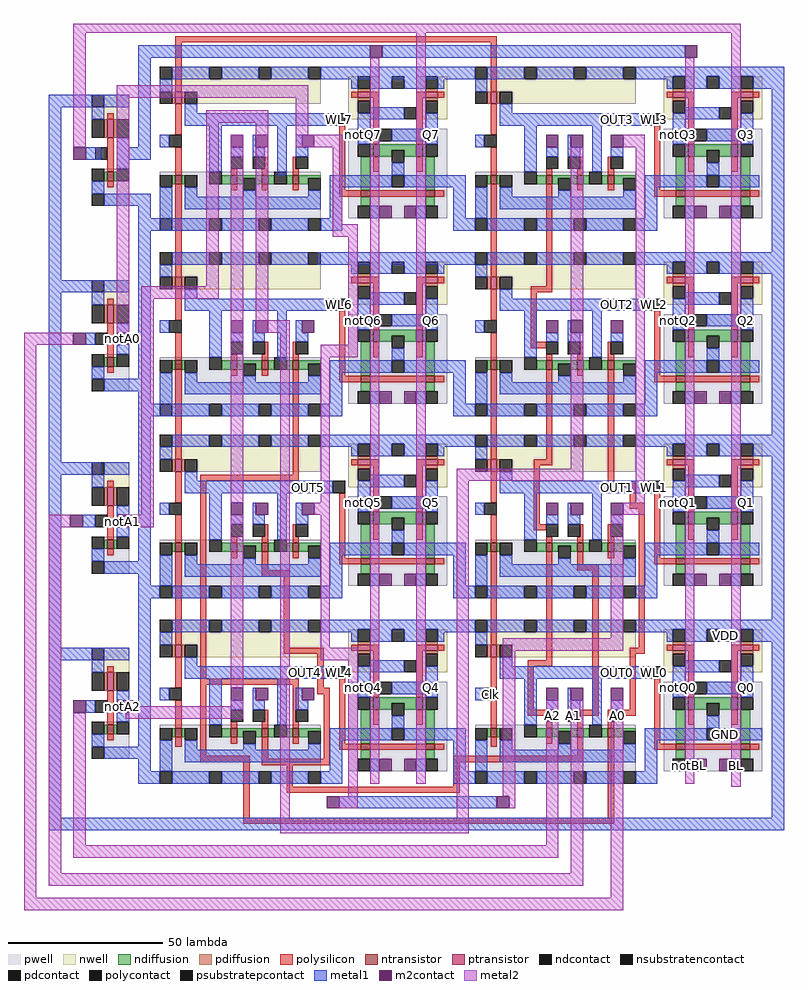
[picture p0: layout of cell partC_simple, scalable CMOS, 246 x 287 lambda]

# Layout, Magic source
magic
tech scmos
<< pwell >>
rect 102 0 154 19
rect 163 4 195 33
rect 102 -60 154 -41
rect 163 -56 195 -27
rect 0 -119 52 -100
rect 61 -115 93 -86
rect 102 -119 154 -100
rect 163 -115 195 -86
rect 0 -179 52 -160
rect 61 -175 93 -146
rect 102 -179 154 -160
rect 163 -175 195 -146
<< nwell >>
rect 102 41 154 53
rect 163 36 173 50
rect 185 36 195 50
rect 102 -19 154 -7
rect 163 -24 173 -10
rect 185 -24 195 -10
rect 0 -78 52 -66
rect 61 -83 71 -69
rect 83 -83 93 -69
rect 102 -78 154 -66
rect 163 -83 173 -69
rect 185 -83 195 -69
rect 0 -138 52 -126
rect 61 -143 71 -129
rect 83 -143 93 -129
rect 102 -138 154 -126
rect 163 -143 173 -129
rect 185 -143 195 -129
<< polysilicon >>
rect 5 61 109 63
rect 5 46 7 61
rect 107 45 109 61
rect 164 43 166 45
rect 170 43 173 45
rect 5 -19 7 14
rect 58 13 60 34
rect 107 31 109 41
rect 107 18 109 27
rect 136 20 137 24
rect 58 11 62 13
rect 107 -15 109 15
rect 125 18 127 20
rect 135 18 137 20
rect 145 20 146 24
rect 125 -18 127 15
rect 145 18 147 20
rect 135 13 137 15
rect 145 13 147 15
rect 160 13 162 34
rect 171 28 173 43
rect 185 43 188 45
rect 192 43 194 45
rect 185 28 187 43
rect 171 19 173 24
rect 185 19 187 24
rect 160 11 167 13
rect 170 11 188 13
rect 191 11 194 13
rect 164 -17 166 -15
rect 170 -17 173 -15
rect 5 -74 7 -43
rect 5 -88 7 -78
rect 43 -79 45 -46
rect 58 -47 60 -26
rect 107 -29 109 -19
rect 107 -42 109 -33
rect 120 -20 127 -18
rect 120 -36 122 -20
rect 120 -38 125 -36
rect 136 -40 137 -36
rect 58 -49 62 -47
rect 107 -74 109 -45
rect 125 -42 127 -40
rect 135 -42 137 -40
rect 145 -40 146 -36
rect 125 -74 127 -45
rect 145 -42 147 -40
rect 135 -47 137 -45
rect 62 -76 64 -74
rect 68 -76 71 -74
rect 5 -101 7 -92
rect 13 -81 45 -79
rect 5 -134 7 -104
rect 5 -148 7 -138
rect 5 -161 7 -152
rect 13 -145 15 -81
rect 34 -99 35 -95
rect 23 -101 25 -99
rect 33 -101 35 -99
rect 43 -99 44 -95
rect 23 -106 25 -104
rect 43 -101 45 -99
rect 33 -110 35 -104
rect 43 -106 45 -104
rect 58 -106 60 -85
rect 69 -91 71 -76
rect 83 -76 86 -74
rect 90 -76 92 -74
rect 83 -91 85 -76
rect 121 -76 127 -74
rect 107 -88 109 -78
rect 69 -100 71 -95
rect 83 -100 85 -95
rect 107 -101 109 -92
rect 121 -95 123 -76
rect 145 -81 147 -45
rect 160 -47 162 -26
rect 171 -32 173 -17
rect 185 -17 188 -15
rect 192 -17 194 -15
rect 185 -32 187 -17
rect 171 -41 173 -36
rect 185 -41 187 -36
rect 160 -49 167 -47
rect 170 -49 188 -47
rect 191 -49 194 -47
rect 164 -76 166 -74
rect 170 -76 173 -74
rect 145 -83 154 -81
rect 152 -88 154 -83
rect 152 -90 157 -88
rect 121 -97 125 -95
rect 136 -99 137 -95
rect 58 -108 65 -106
rect 68 -108 86 -106
rect 89 -108 92 -106
rect 33 -112 42 -110
rect 40 -135 42 -112
rect 107 -134 109 -104
rect 125 -101 127 -99
rect 135 -101 137 -99
rect 145 -99 146 -95
rect 40 -137 53 -135
rect 62 -136 64 -134
rect 68 -136 71 -134
rect 13 -147 45 -145
rect 5 -167 7 -164
rect 13 -170 15 -147
rect 43 -155 45 -147
rect 51 -148 53 -137
rect 51 -150 55 -148
rect 34 -159 35 -155
rect 23 -161 25 -159
rect 33 -161 35 -159
rect 43 -159 44 -155
rect 23 -166 25 -164
rect 43 -161 45 -159
rect 13 -172 29 -170
rect 27 -190 29 -172
rect 33 -171 35 -164
rect 43 -166 45 -164
rect 53 -171 55 -150
rect 58 -166 60 -145
rect 69 -151 71 -136
rect 83 -136 86 -134
rect 90 -136 92 -134
rect 83 -151 85 -136
rect 107 -148 109 -138
rect 125 -139 127 -104
rect 145 -101 147 -99
rect 135 -108 137 -104
rect 145 -106 147 -104
rect 135 -110 142 -108
rect 69 -160 71 -155
rect 83 -160 85 -155
rect 107 -161 109 -152
rect 119 -141 127 -139
rect 119 -155 121 -141
rect 140 -155 142 -110
rect 155 -135 157 -90
rect 160 -106 162 -85
rect 171 -91 173 -76
rect 185 -76 188 -74
rect 192 -76 194 -74
rect 185 -91 187 -76
rect 171 -100 173 -95
rect 185 -100 187 -95
rect 160 -108 167 -106
rect 170 -108 188 -106
rect 191 -108 194 -106
rect 152 -137 157 -135
rect 164 -136 166 -134
rect 170 -136 173 -134
rect 152 -155 154 -137
rect 119 -157 125 -155
rect 136 -157 142 -155
rect 136 -159 137 -157
rect 58 -168 65 -166
rect 68 -168 86 -166
rect 89 -168 92 -166
rect 107 -167 109 -164
rect 125 -161 127 -159
rect 135 -161 137 -159
rect 145 -159 146 -155
rect 150 -157 154 -155
rect 125 -166 127 -164
rect 145 -161 147 -159
rect 33 -173 55 -171
rect 41 -180 43 -173
rect 135 -170 137 -164
rect 95 -172 137 -170
rect 95 -180 97 -172
rect 41 -182 97 -180
rect 145 -190 147 -164
rect 160 -166 162 -145
rect 171 -151 173 -136
rect 185 -136 188 -134
rect 192 -136 194 -134
rect 185 -151 187 -136
rect 171 -160 173 -155
rect 185 -160 187 -155
rect 160 -168 167 -166
rect 170 -168 188 -166
rect 191 -168 194 -166
rect 27 -192 147 -190
<< ndiffusion >>
rect 106 15 107 18
rect 109 15 110 18
rect 122 15 125 18
rect 127 17 135 18
rect 127 15 129 17
rect 133 15 135 17
rect 137 15 139 18
rect 143 15 145 18
rect 147 17 154 18
rect 147 15 150 17
rect 170 24 171 28
rect 173 26 185 28
rect 173 24 177 26
rect 167 13 170 24
rect 181 24 185 26
rect 187 24 188 28
rect 188 13 191 24
rect 167 8 170 11
rect 188 8 191 11
rect 106 -45 107 -42
rect 109 -45 110 -42
rect 122 -45 125 -42
rect 127 -43 135 -42
rect 127 -45 129 -43
rect 133 -45 135 -43
rect 137 -45 139 -42
rect 143 -45 145 -42
rect 147 -43 154 -42
rect 147 -45 150 -43
rect 4 -104 5 -101
rect 7 -104 8 -101
rect 20 -104 23 -101
rect 25 -102 33 -101
rect 25 -104 27 -102
rect 31 -104 33 -102
rect 35 -104 37 -101
rect 41 -104 43 -101
rect 45 -102 52 -101
rect 45 -104 48 -102
rect 68 -95 69 -91
rect 71 -93 83 -91
rect 71 -95 75 -93
rect 65 -106 68 -95
rect 79 -95 83 -93
rect 85 -95 86 -91
rect 86 -106 89 -95
rect 170 -36 171 -32
rect 173 -34 185 -32
rect 173 -36 177 -34
rect 167 -47 170 -36
rect 181 -36 185 -34
rect 187 -36 188 -32
rect 188 -47 191 -36
rect 167 -52 170 -49
rect 188 -52 191 -49
rect 106 -104 107 -101
rect 109 -104 110 -101
rect 65 -111 68 -108
rect 86 -111 89 -108
rect 122 -104 125 -101
rect 127 -102 135 -101
rect 127 -104 129 -102
rect 4 -164 5 -161
rect 7 -164 8 -161
rect 20 -164 23 -161
rect 25 -162 33 -161
rect 25 -164 27 -162
rect 31 -164 33 -162
rect 35 -164 37 -161
rect 41 -164 43 -161
rect 45 -162 52 -161
rect 45 -164 48 -162
rect 133 -104 135 -102
rect 137 -104 139 -101
rect 143 -104 145 -101
rect 147 -102 154 -101
rect 147 -104 150 -102
rect 68 -155 69 -151
rect 71 -153 83 -151
rect 71 -155 75 -153
rect 65 -166 68 -155
rect 79 -155 83 -153
rect 85 -155 86 -151
rect 86 -166 89 -155
rect 170 -95 171 -91
rect 173 -93 185 -91
rect 173 -95 177 -93
rect 167 -106 170 -95
rect 181 -95 185 -93
rect 187 -95 188 -91
rect 188 -106 191 -95
rect 167 -111 170 -108
rect 188 -111 191 -108
rect 106 -164 107 -161
rect 109 -164 110 -161
rect 122 -164 125 -161
rect 127 -162 135 -161
rect 127 -164 129 -162
rect 133 -164 135 -162
rect 137 -164 139 -161
rect 143 -164 145 -161
rect 147 -162 154 -161
rect 147 -164 150 -162
rect 65 -171 68 -168
rect 86 -171 89 -168
rect 170 -155 171 -151
rect 173 -153 185 -151
rect 173 -155 177 -153
rect 167 -166 170 -155
rect 181 -155 185 -153
rect 187 -155 188 -151
rect 188 -166 191 -155
rect 167 -171 170 -168
rect 188 -171 191 -168
<< pdiffusion >>
rect 166 45 170 46
rect 188 45 192 46
rect 106 41 107 45
rect 109 41 110 45
rect 166 42 170 43
rect 106 -19 107 -15
rect 109 -19 110 -15
rect 188 42 192 43
rect 166 -15 170 -14
rect 188 -15 192 -14
rect 4 -78 5 -74
rect 7 -78 8 -74
rect 166 -18 170 -17
rect 64 -74 68 -73
rect 86 -74 90 -73
rect 64 -77 68 -76
rect 4 -138 5 -134
rect 7 -138 8 -134
rect 86 -77 90 -76
rect 106 -78 107 -74
rect 109 -78 110 -74
rect 188 -18 192 -17
rect 166 -74 170 -73
rect 188 -74 192 -73
rect 166 -77 170 -76
rect 64 -134 68 -133
rect 86 -134 90 -133
rect 64 -137 68 -136
rect 86 -137 90 -136
rect 106 -138 107 -134
rect 109 -138 110 -134
rect 188 -77 192 -76
rect 166 -134 170 -133
rect 188 -134 192 -133
rect 166 -137 170 -136
rect 188 -137 192 -136
<< metal1 >>
rect -7 56 68 60
rect 72 56 170 60
rect -36 40 -18 44
rect -36 -16 -32 40
rect -7 27 -3 56
rect 52 49 102 53
rect 106 49 118 53
rect 122 49 134 53
rect 138 49 150 53
rect 154 50 202 53
rect 154 49 166 50
rect 102 45 106 49
rect 164 46 166 49
rect 170 46 177 50
rect 181 46 188 50
rect 192 46 202 50
rect 110 38 114 41
rect 170 38 181 40
rect -24 23 -19 27
rect -14 23 -3 27
rect 38 18 41 38
rect 52 34 56 38
rect 110 34 158 38
rect 166 36 181 38
rect 102 27 105 31
rect 118 19 122 34
rect 125 24 129 27
rect 132 27 133 31
rect 132 24 136 27
rect 140 19 143 34
rect 146 24 150 27
rect 166 28 170 36
rect 188 33 192 38
rect 177 29 192 33
rect 188 28 192 29
rect 55 14 63 18
rect 88 14 99 18
rect -12 8 -3 12
rect 0 8 4 12
rect -7 4 -3 8
rect 55 4 59 14
rect -7 0 7 4
rect 52 0 59 4
rect 95 4 99 14
rect 102 4 106 14
rect 110 11 114 14
rect 177 18 181 22
rect 129 11 133 13
rect 150 11 154 13
rect 110 7 154 11
rect 157 14 177 18
rect 181 14 194 18
rect 157 4 161 14
rect 170 4 173 8
rect 185 4 188 8
rect 95 0 102 4
rect 106 0 118 4
rect 122 0 134 4
rect 138 0 150 4
rect 154 0 161 4
rect -36 -20 -18 -16
rect -36 -75 -32 -20
rect -24 -37 -21 -33
rect -7 -48 -3 0
rect 198 -7 202 46
rect 51 -11 102 -7
rect 106 -11 118 -7
rect 122 -11 134 -7
rect 138 -11 150 -7
rect 154 -10 202 -7
rect 154 -11 166 -10
rect 102 -15 106 -11
rect 164 -14 166 -11
rect 170 -14 177 -10
rect 181 -14 188 -10
rect 192 -14 202 -10
rect 110 -22 114 -19
rect 170 -22 181 -20
rect 38 -42 41 -22
rect 52 -26 56 -22
rect 110 -26 158 -22
rect 166 -24 181 -22
rect 102 -33 105 -29
rect 118 -41 122 -26
rect 125 -36 129 -33
rect 132 -33 133 -29
rect 132 -36 136 -33
rect 140 -41 143 -26
rect 146 -36 150 -33
rect 166 -32 170 -24
rect 188 -27 192 -22
rect 177 -31 192 -27
rect 188 -32 192 -31
rect -11 -52 -3 -48
rect -7 -56 -3 -52
rect 55 -46 63 -42
rect 91 -46 99 -42
rect 55 -56 59 -46
rect -7 -60 8 -56
rect 52 -60 59 -56
rect 95 -56 99 -46
rect 102 -56 106 -46
rect 110 -49 114 -46
rect 177 -42 181 -38
rect 129 -49 133 -47
rect 150 -49 154 -47
rect 110 -53 154 -49
rect 157 -46 177 -42
rect 181 -46 194 -42
rect 157 -56 161 -46
rect 170 -56 173 -52
rect 185 -56 188 -52
rect 95 -60 102 -56
rect 106 -60 118 -56
rect 122 -60 134 -56
rect 138 -60 150 -56
rect 154 -60 161 -56
rect -36 -79 -19 -75
rect -36 -135 -32 -79
rect -25 -96 -21 -92
rect -7 -107 -3 -60
rect 198 -66 202 -14
rect 4 -70 16 -66
rect 20 -70 32 -66
rect 36 -70 48 -66
rect 52 -69 102 -66
rect 52 -70 64 -69
rect 0 -74 4 -70
rect 62 -73 64 -70
rect 68 -73 75 -69
rect 79 -73 86 -69
rect 90 -70 102 -69
rect 106 -70 118 -66
rect 122 -70 134 -66
rect 138 -70 150 -66
rect 154 -69 202 -66
rect 154 -70 166 -69
rect 90 -73 92 -70
rect 102 -74 106 -70
rect 164 -73 166 -70
rect 170 -73 177 -69
rect 181 -73 188 -69
rect 192 -73 202 -69
rect 8 -81 12 -78
rect 68 -81 79 -79
rect 8 -85 56 -81
rect 64 -83 79 -81
rect 0 -92 3 -88
rect 16 -100 20 -85
rect 23 -95 27 -92
rect 30 -92 31 -88
rect 30 -95 34 -92
rect 38 -100 41 -85
rect 44 -92 46 -88
rect 64 -91 68 -83
rect 86 -86 90 -81
rect 110 -81 114 -78
rect 170 -81 181 -79
rect 110 -85 158 -81
rect 166 -83 181 -81
rect 75 -90 90 -86
rect 44 -95 48 -92
rect 86 -91 90 -90
rect 102 -92 105 -88
rect -12 -111 -3 -107
rect -7 -115 -3 -111
rect 0 -115 4 -105
rect 8 -108 12 -105
rect 75 -101 79 -97
rect 118 -100 122 -85
rect 125 -95 129 -92
rect 132 -92 133 -88
rect 132 -95 136 -92
rect 140 -100 143 -85
rect 146 -95 150 -92
rect 166 -91 170 -83
rect 188 -86 192 -81
rect 177 -90 192 -86
rect 188 -91 192 -90
rect 27 -108 31 -106
rect 48 -108 52 -106
rect 8 -112 52 -108
rect 55 -105 75 -101
rect 79 -105 99 -101
rect 55 -115 59 -105
rect 68 -115 71 -111
rect 83 -115 86 -111
rect 95 -115 99 -105
rect 102 -115 106 -105
rect 110 -108 114 -105
rect 177 -101 181 -97
rect 129 -108 133 -106
rect 150 -108 154 -106
rect 110 -112 154 -108
rect 157 -105 177 -101
rect 181 -105 194 -101
rect 157 -115 161 -105
rect 170 -115 173 -111
rect 185 -115 188 -111
rect -7 -119 0 -115
rect 4 -119 16 -115
rect 20 -119 32 -115
rect 36 -119 48 -115
rect 52 -119 59 -115
rect 95 -119 102 -115
rect 106 -119 118 -115
rect 122 -119 134 -115
rect 138 -119 150 -115
rect 154 -119 161 -115
rect -36 -139 -16 -135
rect -36 -190 -32 -139
rect -24 -156 -21 -152
rect -7 -167 -3 -119
rect 198 -126 202 -73
rect 4 -130 16 -126
rect 20 -130 32 -126
rect 36 -130 48 -126
rect 52 -129 102 -126
rect 52 -130 64 -129
rect 0 -134 4 -130
rect 62 -133 64 -130
rect 68 -133 75 -129
rect 79 -133 86 -129
rect 90 -130 102 -129
rect 106 -130 118 -126
rect 122 -130 134 -126
rect 138 -130 150 -126
rect 154 -129 202 -126
rect 154 -130 166 -129
rect 90 -133 92 -130
rect 102 -134 106 -130
rect 164 -133 166 -130
rect 170 -133 177 -129
rect 181 -133 188 -129
rect 192 -133 202 -129
rect 8 -141 12 -138
rect 68 -141 79 -139
rect 8 -145 56 -141
rect 64 -143 79 -141
rect 0 -152 3 -148
rect 16 -160 20 -145
rect 23 -155 27 -152
rect 30 -152 31 -148
rect 30 -155 34 -152
rect 38 -160 41 -145
rect 44 -152 46 -148
rect 64 -151 68 -143
rect 86 -146 90 -141
rect 110 -141 114 -138
rect 170 -141 181 -139
rect 110 -145 158 -141
rect 166 -143 181 -141
rect 75 -150 90 -146
rect 44 -155 48 -152
rect 86 -151 90 -150
rect 102 -152 105 -148
rect -11 -171 -3 -167
rect -7 -175 -3 -171
rect 0 -175 4 -165
rect 8 -168 12 -165
rect 75 -161 79 -157
rect 118 -160 122 -145
rect 125 -155 129 -152
rect 132 -152 133 -148
rect 132 -155 136 -152
rect 140 -160 143 -145
rect 146 -155 150 -152
rect 166 -151 170 -143
rect 188 -146 192 -141
rect 177 -150 192 -146
rect 188 -151 192 -150
rect 27 -168 31 -166
rect 48 -168 52 -166
rect 8 -172 52 -168
rect 55 -165 75 -161
rect 79 -165 99 -161
rect 55 -175 59 -165
rect 68 -175 71 -171
rect 83 -175 86 -171
rect 95 -175 99 -165
rect 102 -175 106 -165
rect 110 -168 114 -165
rect 177 -161 181 -157
rect 129 -168 133 -166
rect 150 -168 154 -166
rect 110 -172 154 -168
rect 157 -165 177 -161
rect 181 -165 195 -161
rect 157 -175 161 -165
rect 170 -175 173 -171
rect 185 -175 188 -171
rect -7 -179 0 -175
rect 4 -179 16 -175
rect 20 -179 32 -175
rect 36 -179 48 -175
rect 52 -179 59 -175
rect 95 -179 102 -175
rect 106 -179 118 -175
rect 122 -179 134 -175
rect 138 -179 150 -175
rect 154 -179 161 -175
rect 58 -187 109 -183
rect 198 -190 202 -133
rect -36 -194 202 -190
<< metal2 >>
rect -28 64 188 67
rect -28 27 -24 64
rect -14 43 48 47
rect -14 -33 -10 43
rect 15 35 35 39
rect 15 -18 19 35
rect -44 -37 -28 -33
rect -6 -22 19 -18
rect -44 -216 -40 -37
rect -6 -92 -2 -22
rect -36 -96 -29 -92
rect -10 -96 -2 -92
rect 23 -88 27 31
rect 31 -29 35 35
rect 44 31 48 43
rect 44 27 59 31
rect 56 2 59 27
rect 56 -2 64 2
rect 31 -33 42 -29
rect -36 -208 -32 -96
rect 23 -148 27 -92
rect -10 -154 -8 -152
rect 23 -154 27 -152
rect -10 -156 27 -154
rect -28 -199 -24 -156
rect -11 -158 27 -156
rect 39 -191 42 -33
rect 61 -37 64 -2
rect 52 -41 64 -37
rect 52 -88 55 -41
rect 50 -92 55 -88
rect 52 -135 55 -92
rect 52 -139 64 -135
rect 61 -183 64 -139
rect 68 -179 71 56
rect 83 -179 86 64
rect 150 27 157 31
rect 133 -29 137 27
rect 133 -77 137 -33
rect 96 -81 137 -77
rect 58 -187 64 -183
rect 96 -191 100 -81
rect 154 -88 157 27
rect 150 -92 157 -88
rect 146 -132 150 -92
rect 111 -136 150 -132
rect 111 -183 115 -136
rect 113 -187 115 -183
rect 39 -195 100 -191
rect 125 -199 129 -152
rect -28 -203 129 -199
rect 133 -208 137 -152
rect -36 -212 137 -208
rect 146 -216 150 -152
rect 170 -179 173 56
rect 185 -180 188 64
rect -44 -220 150 -216
<< ntransistor >>
rect 107 15 109 18
rect 125 15 127 18
rect 135 15 137 18
rect 145 15 147 18
rect 171 24 173 28
rect 185 24 187 28
rect 167 11 170 13
rect 188 11 191 13
rect 107 -45 109 -42
rect 125 -45 127 -42
rect 135 -45 137 -42
rect 145 -45 147 -42
rect 5 -104 7 -101
rect 23 -104 25 -101
rect 33 -104 35 -101
rect 43 -104 45 -101
rect 69 -95 71 -91
rect 83 -95 85 -91
rect 171 -36 173 -32
rect 185 -36 187 -32
rect 167 -49 170 -47
rect 188 -49 191 -47
rect 107 -104 109 -101
rect 65 -108 68 -106
rect 86 -108 89 -106
rect 125 -104 127 -101
rect 5 -164 7 -161
rect 23 -164 25 -161
rect 33 -164 35 -161
rect 43 -164 45 -161
rect 135 -104 137 -101
rect 145 -104 147 -101
rect 69 -155 71 -151
rect 83 -155 85 -151
rect 171 -95 173 -91
rect 185 -95 187 -91
rect 167 -108 170 -106
rect 188 -108 191 -106
rect 107 -164 109 -161
rect 65 -168 68 -166
rect 86 -168 89 -166
rect 125 -164 127 -161
rect 135 -164 137 -161
rect 145 -164 147 -161
rect 171 -155 173 -151
rect 185 -155 187 -151
rect 167 -168 170 -166
rect 188 -168 191 -166
<< ptransistor >>
rect 107 41 109 45
rect 166 43 170 45
rect 107 -19 109 -15
rect 188 43 192 45
rect 166 -17 170 -15
rect 5 -78 7 -74
rect 64 -76 68 -74
rect 5 -138 7 -134
rect 86 -76 90 -74
rect 107 -78 109 -74
rect 188 -17 192 -15
rect 166 -76 170 -74
rect 64 -136 68 -134
rect 86 -136 90 -134
rect 107 -138 109 -134
rect 188 -76 192 -74
rect 166 -136 170 -134
rect 188 -136 192 -134
<< polycontact >>
rect 56 34 60 38
rect 158 34 162 38
rect 105 27 109 31
rect 125 20 129 24
rect 132 20 136 24
rect 146 20 150 24
rect 181 36 185 40
rect 173 29 177 33
rect 56 -26 60 -22
rect 105 -33 109 -29
rect 158 -26 162 -22
rect 125 -40 129 -36
rect 132 -40 136 -36
rect 146 -40 150 -36
rect 3 -92 7 -88
rect 3 -152 7 -148
rect 56 -85 60 -81
rect 23 -99 27 -95
rect 30 -99 34 -95
rect 44 -99 48 -95
rect 79 -83 83 -79
rect 71 -90 75 -86
rect 105 -92 109 -88
rect 181 -24 185 -20
rect 173 -31 177 -27
rect 158 -85 162 -81
rect 125 -99 129 -95
rect 132 -99 136 -95
rect 146 -99 150 -95
rect 56 -145 60 -141
rect 23 -159 27 -155
rect 30 -159 34 -155
rect 44 -159 48 -155
rect 79 -143 83 -139
rect 71 -150 75 -146
rect 105 -152 109 -148
rect 181 -83 185 -79
rect 173 -90 177 -86
rect 158 -145 162 -141
rect 125 -159 129 -155
rect 132 -159 136 -155
rect 146 -159 150 -155
rect 181 -143 185 -139
rect 173 -150 177 -146
<< ndcontact >>
rect 102 14 106 18
rect 110 14 114 18
rect 118 15 122 19
rect 129 13 133 17
rect 139 15 143 19
rect 150 13 154 17
rect 166 24 170 28
rect 177 22 181 26
rect 188 24 192 28
rect 166 4 170 8
rect 188 4 192 8
rect 102 -46 106 -42
rect 110 -46 114 -42
rect 118 -45 122 -41
rect 129 -47 133 -43
rect 139 -45 143 -41
rect 0 -105 4 -101
rect 8 -105 12 -101
rect 16 -104 20 -100
rect 27 -106 31 -102
rect 37 -104 41 -100
rect 48 -106 52 -102
rect 64 -95 68 -91
rect 75 -97 79 -93
rect 86 -95 90 -91
rect 150 -47 154 -43
rect 166 -36 170 -32
rect 177 -38 181 -34
rect 188 -36 192 -32
rect 166 -56 170 -52
rect 188 -56 192 -52
rect 102 -105 106 -101
rect 64 -115 68 -111
rect 86 -115 90 -111
rect 110 -105 114 -101
rect 118 -104 122 -100
rect 0 -165 4 -161
rect 8 -165 12 -161
rect 16 -164 20 -160
rect 27 -166 31 -162
rect 37 -164 41 -160
rect 48 -166 52 -162
rect 129 -106 133 -102
rect 139 -104 143 -100
rect 150 -106 154 -102
rect 64 -155 68 -151
rect 75 -157 79 -153
rect 86 -155 90 -151
rect 166 -95 170 -91
rect 177 -97 181 -93
rect 188 -95 192 -91
rect 166 -115 170 -111
rect 188 -115 192 -111
rect 102 -165 106 -161
rect 110 -165 114 -161
rect 118 -164 122 -160
rect 129 -166 133 -162
rect 139 -164 143 -160
rect 64 -175 68 -171
rect 86 -175 90 -171
rect 150 -166 154 -162
rect 166 -155 170 -151
rect 177 -157 181 -153
rect 188 -155 192 -151
rect 166 -175 170 -171
rect 188 -175 192 -171
<< pdcontact >>
rect 166 46 170 50
rect 188 46 192 50
rect 102 41 106 45
rect 110 41 114 45
rect 166 38 170 42
rect 102 -19 106 -15
rect 110 -19 114 -15
rect 188 38 192 42
rect 166 -14 170 -10
rect 188 -14 192 -10
rect 0 -78 4 -74
rect 8 -78 12 -74
rect 166 -22 170 -18
rect 64 -73 68 -69
rect 86 -73 90 -69
rect 64 -81 68 -77
rect 0 -138 4 -134
rect 8 -138 12 -134
rect 86 -81 90 -77
rect 102 -78 106 -74
rect 110 -78 114 -74
rect 188 -22 192 -18
rect 166 -73 170 -69
rect 188 -73 192 -69
rect 166 -81 170 -77
rect 64 -133 68 -129
rect 86 -133 90 -129
rect 64 -141 68 -137
rect 86 -141 90 -137
rect 102 -138 106 -134
rect 110 -138 114 -134
rect 188 -81 192 -77
rect 166 -133 170 -129
rect 188 -133 192 -129
rect 166 -141 170 -137
rect 188 -141 192 -137
<< m2contact >>
rect 68 56 72 60
rect 170 56 174 60
rect -28 23 -24 27
rect 125 27 129 31
rect 133 27 137 31
rect 146 27 150 31
rect 173 4 177 8
rect 181 4 185 8
rect -28 -37 -24 -33
rect -14 -37 -10 -33
rect 125 -33 129 -29
rect 133 -33 137 -29
rect 146 -33 150 -29
rect 173 -56 177 -52
rect 181 -56 185 -52
rect -29 -96 -25 -92
rect -14 -96 -10 -92
rect 23 -92 27 -88
rect 31 -92 35 -88
rect 46 -92 50 -88
rect 125 -92 129 -88
rect 133 -92 137 -88
rect 146 -92 150 -88
rect 71 -115 75 -111
rect 79 -115 83 -111
rect 173 -115 177 -111
rect 181 -115 185 -111
rect -28 -156 -24 -152
rect -14 -156 -10 -152
rect 23 -152 27 -148
rect 31 -152 35 -148
rect 46 -152 50 -148
rect 125 -152 129 -148
rect 133 -152 137 -148
rect 146 -152 150 -148
rect 71 -175 75 -171
rect 79 -175 83 -171
rect 173 -175 177 -171
rect 181 -175 185 -171
rect 54 -187 58 -183
rect 109 -187 113 -183
<< psubstratepcontact >>
rect 102 0 106 4
rect 118 0 122 4
rect 177 14 181 18
rect 134 0 138 4
rect 150 0 154 4
rect 102 -60 106 -56
rect 118 -60 122 -56
rect 134 -60 138 -56
rect 0 -119 4 -115
rect 75 -105 79 -101
rect 177 -46 181 -42
rect 150 -60 154 -56
rect 16 -119 20 -115
rect 32 -119 36 -115
rect 48 -119 52 -115
rect 102 -119 106 -115
rect 118 -119 122 -115
rect 0 -179 4 -175
rect 16 -179 20 -175
rect 134 -119 138 -115
rect 75 -165 79 -161
rect 150 -119 154 -115
rect 177 -105 181 -101
rect 32 -179 36 -175
rect 48 -179 52 -175
rect 102 -179 106 -175
rect 118 -179 122 -175
rect 134 -179 138 -175
rect 177 -165 181 -161
rect 150 -179 154 -175
<< nsubstratencontact >>
rect 102 49 106 53
rect 118 49 122 53
rect 134 49 138 53
rect 150 49 154 53
rect 177 46 181 50
rect 102 -11 106 -7
rect 118 -11 122 -7
rect 134 -11 138 -7
rect 150 -11 154 -7
rect 177 -14 181 -10
rect 0 -70 4 -66
rect 16 -70 20 -66
rect 32 -70 36 -66
rect 48 -70 52 -66
rect 75 -73 79 -69
rect 102 -70 106 -66
rect 118 -70 122 -66
rect 134 -70 138 -66
rect 0 -130 4 -126
rect 150 -70 154 -66
rect 177 -73 181 -69
rect 16 -130 20 -126
rect 32 -130 36 -126
rect 48 -130 52 -126
rect 75 -133 79 -129
rect 102 -130 106 -126
rect 118 -130 122 -126
rect 134 -130 138 -126
rect 150 -130 154 -126
rect 177 -133 181 -129
use dynamic_nor3_simple  dynamic_nor3_simple_1
transform 1 0 33 0 1 -51
box -33 -9 19 44
use dynamic_nor3_simple  dynamic_nor3_simple_0
transform 1 0 33 0 1 9
box -33 -9 19 44
use inverter  inverter_0
transform 1 0 -16 0 1 16
box -6 -8 7 28
use inverter  inverter_1
transform 1 0 -16 0 1 -44
box -6 -8 7 28
use inverter  inverter_2
transform 1 0 -16 0 1 -103
box -6 -8 7 28
use inverter  inverter_3
transform 1 0 -16 0 1 -163
box -6 -8 7 28
use SRAM_6t  SRAM_6t_0
transform 1 0 63 0 1 9
box -2 -5 30 41
use SRAM_6t  SRAM_6t_1
transform 1 0 63 0 1 -51
box -2 -5 30 41
<< labels >>
rlabel metal1 181 -133 185 -129 0 VDD
rlabel metal1 181 -165 185 -161 0 GND
rlabel metal1 185 -175 188 -171 0 BL
rlabel metal1 170 -175 173 -171 0 notBL
rlabel polycontact 125 -159 129 -155 0 A2
rlabel polycontact 105 -152 109 -148 0 Clk
rlabel polycontact 132 -159 136 -155 0 A1
rlabel polycontact 146 -159 150 -155 0 A0
rlabel metal1 188 -150 192 -146 0 Q0
rlabel metal1 166 -150 170 -146 0 notQ0
rlabel metal1 188 -90 192 -86 0 Q1
rlabel metal1 166 -90 170 -86 0 notQ1
rlabel metal1 166 -31 170 -27 0 notQ2
rlabel metal1 166 29 170 33 0 notQ3
rlabel metal1 188 29 192 33 0 Q3
rlabel metal1 188 -31 192 -27 0 Q2
rlabel metal1 86 -150 90 -146 0 Q4
rlabel metal1 86 -90 90 -86 0 Q5
rlabel metal1 64 -90 68 -86 0 notQ5
rlabel metal1 64 -150 68 -146 0 notQ4
rlabel space 86 29 90 33 0 Q7
rlabel space 64 29 68 33 0 notQ7
rlabel space 64 -31 68 -27 0 notQ6
rlabel space 86 -31 90 -27 0 Q6
rlabel metal1 146 -145 150 -141 0 OUT0
rlabel metal1 146 -85 150 -81 0 OUT1
rlabel metal1 146 -26 150 -22 0 OUT2
rlabel metal1 146 34 150 38 0 OUT3
rlabel metal1 45 -145 49 -141 0 OUT4
rlabel metal1 46 -85 50 -81 0 OUT5
rlabel m2contact -14 -156 -10 -152 0 notA2
rlabel m2contact -14 -96 -10 -92 0 notA1
rlabel m2contact -14 -37 -10 -33 0 notA0
rlabel polycontact 158 -145 162 -141 0 WL0
rlabel polycontact 158 -85 162 -81 0 WL1
rlabel polycontact 158 -26 162 -22 0 WL2
rlabel polycontact 158 34 162 38 0 WL3
rlabel polycontact 56 -145 60 -141 0 WL4
rlabel polycontact 56 -85 60 -81 0 WL5
rlabel polycontact 56 -26 60 -22 0 WL6
rlabel polycontact 56 34 60 38 0 WL7
<< end >>

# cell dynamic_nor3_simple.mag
magic
tech scmos
<< pwell >>
rect -33 -9 19 10
<< nwell >>
rect -33 32 19 44
<< polysilicon >>
rect -28 36 -26 38
rect -28 22 -26 32
rect -28 9 -26 18
rect 1 11 2 15
rect -28 3 -26 6
rect -10 9 -8 11
rect 0 9 2 11
rect 10 11 11 15
rect -10 4 -8 6
rect 10 9 12 11
rect 0 4 2 6
rect 10 4 12 6
<< ndiffusion >>
rect -29 6 -28 9
rect -26 6 -25 9
rect -13 6 -10 9
rect -8 8 0 9
rect -8 6 -6 8
rect -2 6 0 8
rect 2 6 4 9
rect 8 6 10 9
rect 12 8 19 9
rect 12 6 15 8
<< pdiffusion >>
rect -29 32 -28 36
rect -26 32 -25 36
<< metal1 >>
rect -29 40 -17 44
rect -13 40 -1 44
rect 3 40 15 44
rect -33 36 -29 40
rect -25 29 -21 32
rect -25 25 19 29
rect -33 18 -30 22
rect -17 10 -13 25
rect -10 15 -6 18
rect -3 18 -2 22
rect 11 18 13 22
rect -3 15 1 18
rect 11 15 15 18
rect -33 -5 -29 5
rect -25 2 -21 5
rect -6 2 -2 4
rect 15 2 19 4
rect -25 -2 19 2
rect -29 -9 -17 -5
rect -13 -9 -1 -5
rect 3 -9 15 -5
<< ntransistor >>
rect -28 6 -26 9
rect -10 6 -8 9
rect 0 6 2 9
rect 10 6 12 9
<< ptransistor >>
rect -28 32 -26 36
<< polycontact >>
rect -30 18 -26 22
rect -10 11 -6 15
rect -3 11 1 15
rect 11 11 15 15
<< ndcontact >>
rect -33 5 -29 9
rect -25 5 -21 9
rect -17 6 -13 10
rect -6 4 -2 8
rect 4 6 8 10
rect 15 4 19 8
<< pdcontact >>
rect -33 32 -29 36
rect -25 32 -21 36
<< m2contact >>
rect -10 18 -6 22
rect -2 18 2 22
rect 13 18 17 22
<< psubstratepcontact >>
rect -33 -9 -29 -5
rect -17 -9 -13 -5
rect -1 -9 3 -5
rect 15 -9 19 -5
<< nsubstratencontact >>
rect -33 40 -29 44
rect -17 40 -13 44
rect -1 40 3 44
rect 15 40 19 44
<< end >>

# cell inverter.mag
magic
tech scmos
<< pwell >>
rect -6 -8 6 4
<< nwell >>
rect -6 14 6 28
<< polysilicon >>
rect -1 20 1 22
rect -1 3 1 14
rect -1 -2 1 0
<< ndiffusion >>
rect -2 0 -1 3
rect 1 0 2 3
<< pdiffusion >>
rect -2 14 -1 20
rect 1 14 2 20
<< metal1 >>
rect -2 24 6 28
rect -6 20 -2 24
rect 2 11 6 14
rect -6 7 -5 11
rect 4 7 6 11
rect 2 4 6 7
rect -6 -4 -2 0
rect -2 -8 6 -4
<< ntransistor >>
rect -1 0 1 3
<< ptransistor >>
rect -1 14 1 20
<< polycontact >>
rect -5 7 -1 11
<< ndcontact >>
rect -6 0 -2 4
rect 2 0 6 4
<< pdcontact >>
rect -6 14 -2 20
rect 2 14 6 20
<< psubstratepcontact >>
rect -6 -8 -2 -4
<< nsubstratencontact >>
rect -6 24 -2 28
<< end >>

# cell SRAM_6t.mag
magic
tech scmos
<< pwell >>
rect -2 -5 30 24
<< nwell >>
rect -2 27 8 41
rect 20 27 30 41
<< polysilicon >>
rect -1 34 1 36
rect 5 34 8 36
rect 6 19 8 34
rect 20 34 23 36
rect 27 34 29 36
rect 20 19 22 34
rect 6 10 8 15
rect 20 10 22 15
rect -2 2 2 4
rect 5 2 23 4
rect 26 2 29 4
<< ndiffusion >>
rect 5 15 6 19
rect 8 17 20 19
rect 8 15 12 17
rect 2 4 5 15
rect 16 15 20 17
rect 22 15 23 19
rect 23 4 26 15
rect 2 -1 5 2
rect 23 -1 26 2
<< pdiffusion >>
rect 1 36 5 37
rect 23 36 27 37
rect 1 33 5 34
rect 23 33 27 34
<< metal1 >>
rect -1 37 1 41
rect 5 37 12 41
rect 16 37 23 41
rect 27 37 29 41
rect 5 29 16 31
rect 1 27 16 29
rect 1 19 5 27
rect 23 24 27 29
rect 12 20 27 24
rect 23 19 27 20
rect 12 9 16 13
rect -2 5 12 9
rect 16 5 29 9
rect 5 -5 8 -1
rect 20 -5 23 -1
<< metal2 >>
rect 5 -5 8 41
rect 20 -5 23 41
<< ntransistor >>
rect 6 15 8 19
rect 20 15 22 19
rect 2 2 5 4
rect 23 2 26 4
<< ptransistor >>
rect 1 34 5 36
rect 23 34 27 36
<< polycontact >>
rect 16 27 20 31
rect 8 20 12 24
<< ndcontact >>
rect 1 15 5 19
rect 12 13 16 17
rect 23 15 27 19
rect 1 -5 5 -1
rect 23 -5 27 -1
<< pdcontact >>
rect 1 37 5 41
rect 23 37 27 41
rect 1 29 5 33
rect 23 29 27 33
<< m2contact >>
rect 8 -5 12 -1
rect 16 -5 20 -1
<< psubstratepcontact >>
rect 12 5 16 9
<< nsubstratencontact >>
rect 12 37 16 41
<< end >>
